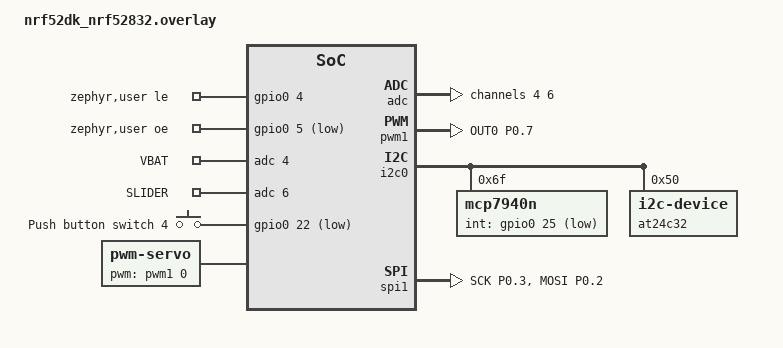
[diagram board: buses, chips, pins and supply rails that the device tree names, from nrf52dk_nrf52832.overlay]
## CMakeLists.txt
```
cmake_minimum_required(VERSION 3.20.0)

find_package(Zephyr REQUIRED HINTS $ENV{ZEPHYR_BASE})

target_link_libraries(app PRIVATE Zephyr)

project(machhar)

add_subdirectory(src)
```

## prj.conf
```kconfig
# ----- Core BLE -----
CONFIG_BT=y
CONFIG_BT_PERIPHERAL=y
CONFIG_BT_SMP=y
CONFIG_BT_PRIVACY=n
CONFIG_BT_MAX_CONN=1
CONFIG_BT_DEVICE_NAME="MACHHAR"
CONFIG_BT_MAX_PAIRED=4
CONFIG_BT_GATT_SERVICE_CHANGED=y
CONFIG_BT_GATT_AUTO_SEC_REQ=y

# ----- Services -----
CONFIG_BT_DIS=y
CONFIG_BT_BAS=y


# CONFIG_BT_DIS_FW_REV_STR="1.0.0"
#DIS

CONFIG_BT_DIS_PNP=n
CONFIG_BT_DIS_MODEL_NUMBER=y
CONFIG_BT_DIS_MANUF_NAME=y
CONFIG_BT_DIS_SERIAL_NUMBER=y
CONFIG_BT_DIS_FW_REV=y
CONFIG_BT_DIS_HW_REV=y
CONFIG_BT_DIS_SW_REV=y
CONFIG_BT_DIS_MODEL_NUMBER_STR="FB1"
CONFIG_BT_DIS_MANUF_NAME_STR="MACHHAR"
CONFIG_BT_DIS_SERIAL_NUMBER_STR="SERIAL"
CONFIG_BT_DIS_FW_REV_STR="0.0.1"
CONFIG_BT_DIS_HW_REV_STR="0.0.1"
CONFIG_BT_DIS_SW_REV_STR="0.0.1"

# Below is setup to let DIS information be read from settings
# CONFIG_BT_SETTINGS=y
CONFIG_SETTINGS_RUNTIME=y
CONFIG_SETTINGS=y
CONFIG_SETTINGS_NONE=y
CONFIG_BT_DIS_SETTINGS=y
CONFIG_BT_DIS_STR_MAX=21

# -------- Drivers / subsystems --------
CONFIG_ADC=y
CONFIG_PWM=y
CONFIG_GPIO=y
CONFIG_I2C=y
CONFIG_SPI=y

# -------- Logging --------
CONFIG_LOG=y
CONFIG_PWM_LOG_LEVEL_DBG=y
CONFIG_LOG_MODE_IMMEDIATE=y
```

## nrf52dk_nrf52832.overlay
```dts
/ {
    zephyr,user {
        io-channels = <&adc 4>, <&adc 6>;
        io-channel-names = "VBAT", "SLIDER";
        le-gpios = <&gpio0 4 GPIO_ACTIVE_HIGH>;
        oe-gpios = <&gpio0 5 GPIO_ACTIVE_LOW>;
    };

    buttons {
        compatible = "gpio-keys";
        button4: button_4 {
            gpios = <&gpio0 22 (GPIO_ACTIVE_LOW | GPIO_PULL_UP)>;
            label = "Push button switch 4";
        };
    };

    aliases {
        sp-sw = &button4;
    };
};


&adc {
    #address-cells = <1>;
    #size-cells = <0>;
    status = "okay";
    channel@4 {
        reg = <4>;
        zephyr,gain = "ADC_GAIN_1_5";
        zephyr,reference = "ADC_REF_INTERNAL";
        zephyr,acquisition-time = <ADC_ACQ_TIME_DEFAULT>;
        zephyr,input-positive = <NRF_SAADC_AIN4>; /* P0.28 for nRF52xx */
        zephyr,resolution = <12>;
    };
    channel@6 {
        reg = <6>;
        zephyr,gain = "ADC_GAIN_1_4";
        zephyr,reference = "ADC_REF_INTERNAL";
        zephyr,acquisition-time = <ADC_ACQ_TIME_DEFAULT>;
        zephyr,input-positive = <NRF_SAADC_AIN6>; /* P0.29 for nRF52xx */
        zephyr,resolution = <12>;
    };
};



&uart0_sleep {
    group1 {
        psels = <NRF_PSEL(UART_RX, 0, 8)>,
                <NRF_PSEL(UART_TX, 0, 6)>;
    };
};

&uart0_default {
    group1 {
        psels = <NRF_PSEL(UART_RX, 0, 8)>,
                <NRF_PSEL(UART_TX, 0, 6)>;
    };
};


/ {
    servo: servo {
        compatible = "pwm-servo";
        pwms = <&pwm1 0 PWM_MSEC(20) PWM_POLARITY_NORMAL>;
        min-pulse = <PWM_USEC(600)>;
        max-pulse = <PWM_USEC(2400)>;
        period = <PWM_MSEC(20)>;
    };
};

&pwm1 {
    status = "okay";
    pinctrl-0 = <&pwm1_custom_motor>;
    pinctrl-1 = <&pwm1_csleep_motor>;
    pinctrl-names = "default", "sleep";
};

&pinctrl {
    pwm1_custom_motor: pwm1_custom_motor {
        group1 {
            psels = <NRF_PSEL(PWM_OUT0, 0, 7)>;
        };
    };

    pwm1_csleep_motor: pwm1_csleep_motor {
        group1 {
            psels = <NRF_PSEL(PWM_OUT0, 0, 7)>;
            low-power-enable;
        };
    };

    i2c0_default: i2c0_default {
        group1 {
            psels = <NRF_PSEL(TWIM_SDA, 0, 27)>,
                    <NRF_PSEL(TWIM_SCL, 0, 26)>;
        };
    };
};

&i2c0 {
    mcp7940n: rtc@6f {
        compatible = "mcp7940n";
        reg = <0x6f>;
        status = "okay";
        int-gpios = <&gpio0 25 (GPIO_ACTIVE_LOW | GPIO_PULL_UP)>;
    };
    at24c32: eeprom@50 {
        compatible = "i2c-device";
        reg = <0x50>;
        label = "at24c32";
        status = "okay";
    };
};


&spi0 {
    status = "disabled";

};

&spi2 {
    status = "disabled";
};

&spi1 {
    status = "okay";
    pinctrl-0 = <&spi1_tlc_default>;
    pinctrl-1 = <&spi1_tlc_sleep>;
    pinctrl-names = "default", "sleep";
};

&pinctrl {
    spi1_tlc_default: spi1_tlc_default {
        group1 {
            psels = <NRF_PSEL(SPIM_SCK,  0, 3)>,
                    <NRF_PSEL(SPIM_MOSI, 0, 2)>;
        };
    };

    spi1_tlc_sleep: spi1_tlc_sleep {
        group1 {
            psels = <NRF_PSEL(SPIM_SCK,  0, 3)>,
                    <NRF_PSEL(SPIM_MOSI, 0, 2)>;
            low-power-enable;
        };
    };
};
```

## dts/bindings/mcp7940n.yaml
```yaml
description: MCP7940N Real-Time Clock
compatible: "mcp7940n"

include:
  - i2c-device.yaml

properties:
  int-gpios:
    type: phandle-array
    required: false
    description: Interrupt GPIO from MCP7940N INT (active-low, open-drain)
```

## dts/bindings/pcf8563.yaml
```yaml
description: NXP PCF8563 Real-Time Clock
compatible: "pcf8563"

include:
  - i2c-device.yaml

properties:
  int-gpios:
    type: phandle-array
    required: false
    description: Interrupt GPIO from PCF8563 INT (active-low, open-drain)
```

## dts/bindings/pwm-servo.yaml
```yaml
# Copyright (c) 2022 Nordic Semiconductor ASA
# SPDX-License-Identifier: Apache-2.0

# STEP 5.1 - Create a device binding for the servo

description: PWM-driven servo motor.

compatible: "pwm-servo"

include: base.yaml

properties:
  pwms:
    required: true
    type: phandle-array
    description: PWM specifier driving the servo motor.

  min-pulse:
    required: true
    type: int
    description: Minimum pulse width.

  max-pulse:
    required: true
    type: int
    description: Maximum pulse width.
  
  period:
    required: true
    type: int
    description: PWM Period.
```

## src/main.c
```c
/*
 * Copyright (c) 2023 Nordic Semiconductor ASA
 *
 * SPDX-License-Identifier: LicenseRef-Nordic-5-Clause
 */

#include <zephyr/kernel.h>
#include <zephyr/logging/log.h>
/* STEP 3 - Include the header file of the Bluetooth LE stack */
#include <zephyr/bluetooth/bluetooth.h>
#include <zephyr/bluetooth/gap.h>
#include <zephyr/kernel.h>
#include <zephyr/device.h>
#include <zephyr/devicetree.h>
#include <zephyr/drivers/gpio.h>

LOG_MODULE_REGISTER(BLUE, LOG_LEVEL_INF);

#define DEVICE_NAME CONFIG_BT_DEVICE_NAME
#define DEVICE_NAME_LEN (sizeof(DEVICE_NAME) - 1)

#define LED0_NODE DT_ALIAS(led0)
static const struct gpio_dt_spec led = GPIO_DT_SPEC_GET(LED0_NODE, gpios);

#define RUN_LED_BLINK_INTERVAL_MS 1000

/* STEP 4.1.1 - Declare the advertising packet */
static const struct bt_data ad[] = {
    /* STEP 4.1.2 - Set the advertising flags */
    BT_DATA_BYTES(BT_DATA_FLAGS, BT_LE_AD_NO_BREDR),
    /* STEP 4.1.3 - Set the advertising packet data  */
    BT_DATA(BT_DATA_NAME_COMPLETE, DEVICE_NAME, DEVICE_NAME_LEN),

};

/* STEP 4.2.2 - Declare the URL data to include in the scan response */
static unsigned char url_data[] = {0x17, '/', '/', 'f', 'u', 'c', 'k', '-', 'b',
                                   'e', 't', 'i', 'c'};

/* STEP 4.2.1 - Declare the scan response packet */
static const struct bt_data sd[] = {
    /* 4.2.3 Include the URL data in the scan response packet */
    BT_DATA(BT_DATA_URI, url_data, sizeof(url_data)),
};

int main(void)
{
    int err;

    if (!device_is_ready(led.port))
    {
        printk("Error: LED device %s is not ready\n", led.port->name);
        return -1;
    }

    err = gpio_pin_configure_dt(&led, GPIO_OUTPUT_ACTIVE);
    if (err)
    {
        printk("Error %d: Failed to configure LED pin\n", err);
        return -1;
    }

    /* STEP 5 - Enable the Bluetooth LE stack */
    err = bt_enable(NULL);
    if (err)
    {
        LOG_ERR("Bluetooth init failed (err %d)\n", err);
        return -1;
    }

    LOG_INF("Bluetooth initialized\n");

    /* STEP 6 - Start advertising */
    err = bt_le_adv_start(BT_LE_ADV_NCONN, ad, ARRAY_SIZE(ad), sd, ARRAY_SIZE(sd));
    if (err)
    {
        LOG_ERR("Advertising failed to start (err %d)\n", err);
        return -1;
    }

    LOG_INF("Advertising successfully started\n");

    bool led_is_on = true;

    while (1)
    {
        gpio_pin_set_dt(&led, (int)led_is_on);
        led_is_on = !led_is_on;
        k_sleep(K_MSEC(RUN_LED_BLINK_INTERVAL_MS));
    }

    return 0;
}
```

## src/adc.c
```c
/*
 * Copyright (c) 2024 Nordic Semiconductor ASA
 *
 * SPDX-License-Identifier: LicenseRef-Nordic-5-Clause
 */

#include <zephyr/kernel.h>
#include <zephyr/device.h>
#include <zephyr/devicetree.h>
#include <zephyr/logging/log.h>
#include <zephyr/drivers/adc.h>

/* STEP 3.2 - Define variables for both channels */
static const struct adc_dt_spec adc_channel4 = ADC_DT_SPEC_GET_BY_NAME(DT_PATH(zephyr_user), vbat);
static const struct adc_dt_spec adc_channel5 = ADC_DT_SPEC_GET_BY_NAME(DT_PATH(zephyr_user), slider);

LOG_MODULE_REGISTER(Lesson6_Exercise1, LOG_LEVEL_DBG);

int main(void)
{
    int err;
    uint32_t count = 0;

    /* STEP 4.1 - Define buffers and sequences for both channels */
    int16_t buf0, buf1;

    struct adc_sequence sequence0 = {
        .buffer = &buf0,
        .buffer_size = sizeof(buf0),
    };

    struct adc_sequence sequence1 = {
        .buffer = &buf1,
        .buffer_size = sizeof(buf1),
    };

    /* STEP 3.3 - Validate that both ADC channels are ready */
    if (!adc_is_ready_dt(&adc_channel5))
    {
        LOG_ERR("ADC channel 0 device %s not ready", adc_channel5.dev->name);
        return 0;
    }

    if (!adc_is_ready_dt(&adc_channel4))
    {
        LOG_ERR("ADC channel 1 device %s not ready", adc_channel4.dev->name);
        return 0;
    }

    /* STEP 3.4 - Setup both ADC channels */
    err = adc_channel_setup_dt(&adc_channel5);
    if (err < 0)
    {
        LOG_ERR("Could not setup channel 0 (%d)", err);
        return 0;
    }

    err = adc_channel_setup_dt(&adc_channel4);
    if (err < 0)
    {
        LOG_ERR("Could not setup channel 1 (%d)", err);
        return 0;
    }

    /* STEP 4.2 - Initialize both ADC sequences */
    err = adc_sequence_init_dt(&adc_channel5, &sequence0);
    if (err < 0)
    {
        LOG_ERR("Could not initialize sequence 0");
        return 0;
    }

    err = adc_sequence_init_dt(&adc_channel4, &sequence1);
    if (err < 0)
    {
        LOG_ERR("Could not initialize sequence 1");
        return 0;
    }

    while (1)
    {
        int val_mv0, val_mv1;

        /* STEP 5 - Read samples from both ADC channels */

        // Read channel 0
        err = adc_read(adc_channel5.dev, &sequence0);
        if (err < 0)
        {
            LOG_ERR("Could not read channel 0 (%d)", err);
        }
        else
        {
            val_mv0 = (int)buf0;
            LOG_INF("ADC reading[%u]: %s, channel %d: Raw: %d",
                    count, adc_channel5.dev->name, adc_channel5.channel_id, val_mv0);

            /* STEP 6 - Convert raw value to mV */
            err = adc_raw_to_millivolts_dt(&adc_channel5, &val_mv0);
            if (err < 0)
            {
                LOG_WRN("Channel 0: (value in mV not available)");
            }
            else
            {
                LOG_INF("Channel 0: = %d mV", val_mv0);
            }
        }

        // Read channel 1
        err = adc_read(adc_channel4.dev, &sequence1);
        if (err < 0)
        {
            LOG_ERR("Could not read channel 1 (%d)", err);
        }
        else
        {
            val_mv1 = (int)buf1;
            LOG_INF("ADC reading[%u]: %s, channel %d: Raw: %d",
                    count, adc_channel4.dev->name, adc_channel4.channel_id, val_mv1);

            /* STEP 6 - Convert raw value to mV */
            err = adc_raw_to_millivolts_dt(&adc_channel4, &val_mv1);
            if (err < 0)
            {
                LOG_WRN("Channel 1: (value in mV not available)");
            }
            else
            {
                LOG_INF("Channel 1: = %d mV", val_mv1);
            }
        }

        count++;
        k_sleep(K_MSEC(1000));
    }
    return 0;
}
```

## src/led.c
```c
/*
 * Copyright (c) 2016 Intel Corporation
 *
 * SPDX-License-Identifier: Apache-2.0
 * Note:
 * Tested on nRF Connect SDK Version : 2.0
 */

#include <zephyr/kernel.h>
#include <zephyr/device.h>
#include <zephyr/devicetree.h>
#include <zephyr/drivers/gpio.h>

/* STEP 9 - Increase the sleep time from 100ms to 10 minutes  */
#define SLEEP_TIME_MS 10 * 60 * 1000

/* SW0_NODE is the devicetree node identifier for the node with alias "sw0" */
#define PW_SW_NODE DT_ALIAS(pw_sw)
static const struct gpio_dt_spec button = GPIO_DT_SPEC_GET(PW_SW_NODE, gpios);

/* LED0_NODE is the devicetree node identifier for the node with alias "led0". */
#define LED0_NODE DT_ALIAS(led0)
static const struct gpio_dt_spec led = GPIO_DT_SPEC_GET(LED0_NODE, gpios);

/* STEP 4 - Define the callback function */
void button_pressed(const struct device *dev, struct gpio_callback *cb, uint32_t pins)
{
    gpio_pin_toggle_dt(&led);
}
/* STEP 5 - Define a variable of type static struct gpio_callback */
static struct gpio_callback button_cb_data;

int main(void)
{
    int ret;

    if (!device_is_ready(led.port))
    {
        return -1;
    }

    if (!device_is_ready(button.port))
    {
        return -1;
    }

    ret = gpio_pin_configure_dt(&led, GPIO_OUTPUT_ACTIVE);
    if (ret < 0)
    {
        return -1;
    }

    ret = gpio_pin_configure_dt(&button, GPIO_INPUT);
    if (ret < 0)
    {
        return -1;
    }
    /* STEP 3 - Configure the interrupt on the button's pin */
    ret = gpio_pin_interrupt_configure_dt(&button, GPIO_INT_EDGE_TO_ACTIVE);

    /* STEP 6 - Initialize the static struct gpio_callback variable   */
    gpio_init_callback(&button_cb_data, button_pressed, BIT(button.pin));

    /* STEP 7 - Add the callback function by calling gpio_add_callback()   */
    gpio_add_callback(button.port, &button_cb_data);

    while (1)
    {
        /* STEP 8 - Remove the polling code */

        k_msleep(SLEEP_TIME_MS);
    }
}
```
